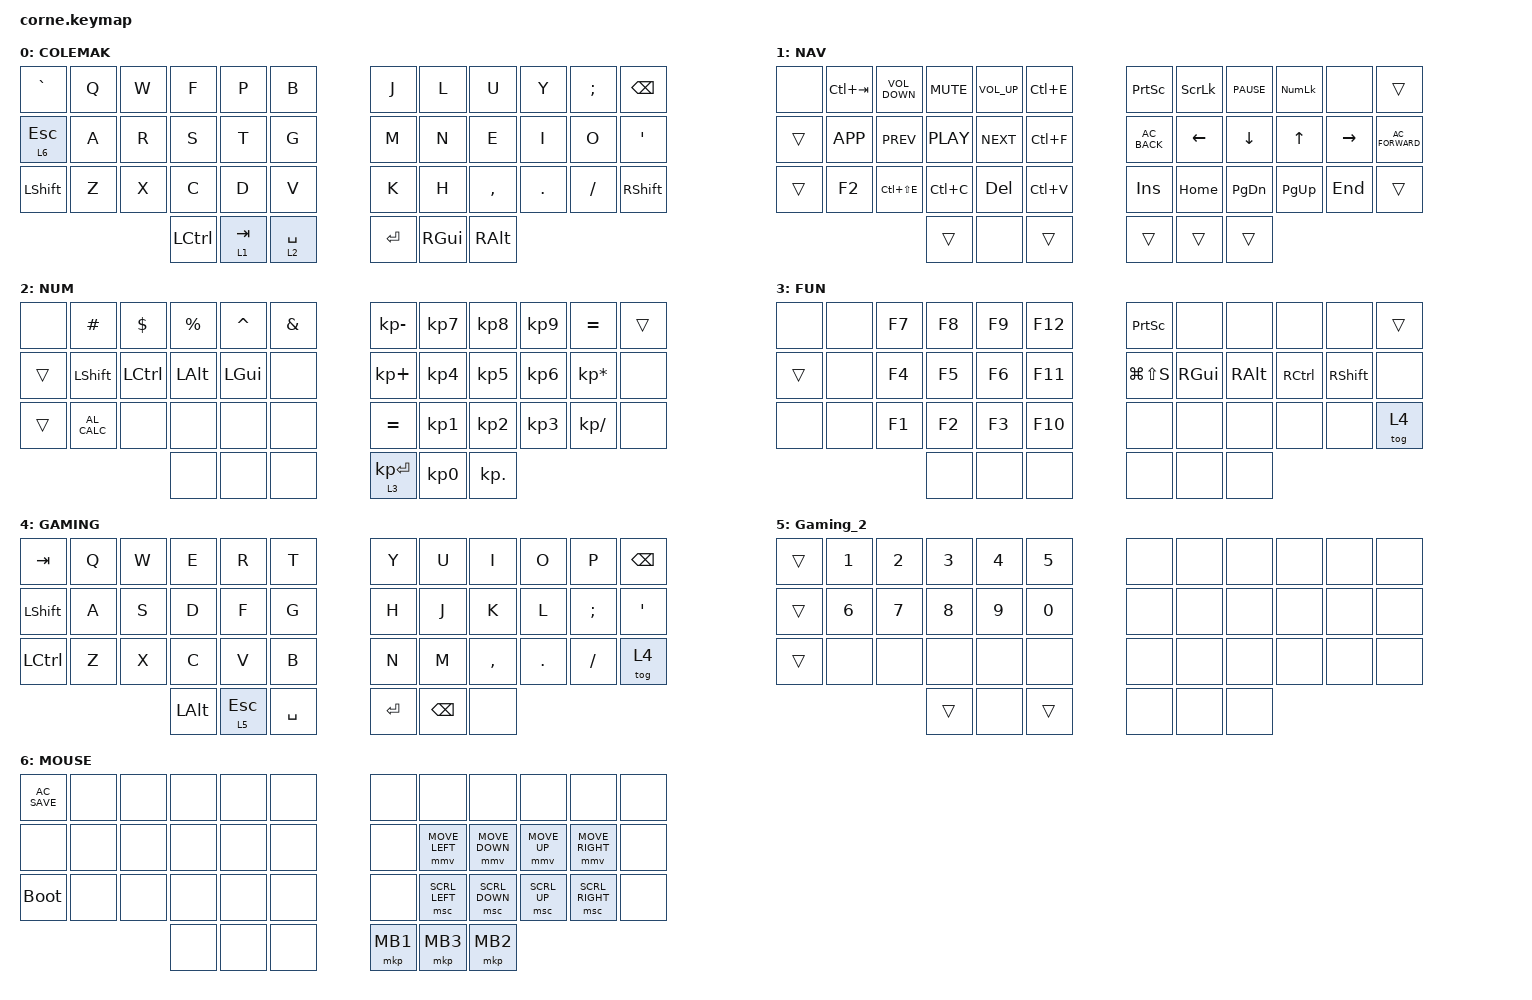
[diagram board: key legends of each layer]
/*
 * Copyright (c) 2020 The ZMK Contributors
 *
 * SPDX-License-Identifier: MIT
 */

#include <behaviors.dtsi>
#include <dt-bindings/zmk/keys.h>
#include <dt-bindings/zmk/pointing.h>

/ {
    combos {
        compatible = "zmk,combos";

        combo_lt {
            bindings = <&kp LT>;
            key-positions = <2 3>;
            timeout-ms = <50>;
            layers = <0>;
        };

        combo_lbkt {
            bindings = <&kp LBKT>;
            key-positions = <3 4>;
            timeout-ms = <50>;
            layers = <0>;
        };

        combo_under {
            bindings = <&kp UNDER>;
            key-positions = <4 5>;
            timeout-ms = <50>;
            layers = <0>;
        };

        combo_tilde {
            bindings = <&kp TILDE>;
            key-positions = <13 14>;
            timeout-ms = <50>;
            layers = <0>;
        };

        combo_grade {
            bindings = <&kp GRAVE>;
            key-positions = <14 15>;
            timeout-ms = <50>;
            layers = <0>;
        };

        combo_lpar {
            bindings = <&kp LPAR>;
            key-positions = <15 16>;
            timeout-ms = <50>;
            layers = <0>;
        };

        combo_hash {
            bindings = <&kp HASH>;
            key-positions = <16 17>;
            timeout-ms = <50>;
            layers = <0>;
        };

        combo_pbrc {
            bindings = <&kp LBRC>;
            key-positions = <27 28>;
            timeout-ms = <50>;
            layers = <0>;
        };

        combo_prcnt {
            bindings = <&kp PRCNT>;
            key-positions = <28 29>;
            timeout-ms = <50>;
            layers = <0>;
        };

        combo_excl {
            bindings = <&kp EXCL>;
            key-positions = <6 7>;
            timeout-ms = <50>;
            layers = <0>;
        };

        combo_rbkt {
            bindings = <&kp RBKT>;
            key-positions = <7 8>;
            timeout-ms = <50>;
            layers = <0>;
        };

        combo_gt {
            bindings = <&kp GT>;
            key-positions = <8 9>;
            timeout-ms = <50>;
            layers = <0>;
        };

        combo_at {
            bindings = <&kp AT>;
            key-positions = <18 19>;
            timeout-ms = <50>;
            layers = <0>;
        };

        combo_rpar {
            bindings = <&kp RPAR>;
            key-positions = <19 20>;
            timeout-ms = <50>;
            layers = <0>;
        };

        combo_bslh {
            bindings = <&kp BSLH>;
            key-positions = <20 21>;
            timeout-ms = <50>;
            layers = <0>;
        };

        combo_pipe {
            bindings = <&kp PIPE>;
            key-positions = <21 22>;
            timeout-ms = <50>;
            layers = <0>;
        };

        combo_caret {
            bindings = <&kp CARET>;
            key-positions = <30 31>;
            timeout-ms = <50>;
            layers = <0>;
        };

        combo_rbrc {
            bindings = <&kp RBRC>;
            key-positions = <31 32>;
            timeout-ms = <50>;
            layers = <0>;
        };

        caps_word {
            bindings = <&c_caps_word>;
            key-positions = <16 19>;
            layers = <0>;
            timeout-ms = <50>;
        };
    };

    behaviors {
        lt_esc: lt_esc {
            compatible = "zmk,behavior-hold-tap";
            label = "LT_ESC";
            bindings = <&mo>, <&kp>;

            #binding-cells = <2>;
            tapping-term-ms = <200>;
            flavor = "tap-preferred";
        };

        lt_spc: lt_spc {
            compatible = "zmk,behavior-hold-tap";
            label = "LT_SPC";
            bindings = <&mo>, <&kp>;

            #binding-cells = <2>;
            tapping-term-ms = <200>;
            quick-tap-ms = <200>;
            flavor = "balanced";
            retro-tap;
        };

        lt_tab: lt_tab {
            compatible = "zmk,behavior-hold-tap";
            label = "LT_TAB";
            bindings = <&mo>, <&kp>;

            #binding-cells = <2>;
            tapping-term-ms = <175>;
            quick-tap-ms = <200>;
            flavor = "balanced";
        };

        lt_ent: lt_ent {
            compatible = "zmk,behavior-hold-tap";
            label = "LT_ENT";
            bindings = <&mo>, <&kp>;

            #binding-cells = <2>;
            tapping-term-ms = <200>;
            quick-tap-ms = <200>;
            flavor = "balanced";
        };

        bspc_del: bspc_del {
            compatible = "zmk,behavior-mod-morph";
            label = "BSPC_DEL";
            bindings = <&kp BSPC>, <&kp DEL>;

            #binding-cells = <0>;
            mods = <(MOD_LSFT|MOD_RSFT)>;
        };

        c_caps_word: c_caps_word {
            compatible = "zmk,behavior-caps-word";
            label = "C_CAPS_WORD";
            #binding-cells = <0>;
            continue-list = <MINUS BSPC UNDER>;
        };
    };

    keymap {
        compatible = "zmk,keymap";

        COLEMAK {
            bindings = <
&kp GRAVE      &kp Q  &kp W  &kp F      &kp P          &kp B              &kp J      &kp L     &kp U      &kp Y    &kp SEMI  &kp BACKSPACE
&lt_esc 6 ESC  &kp A  &kp R  &kp S      &kp T          &kp G              &kp M      &kp N     &kp E      &kp I    &kp O     &kp APOS
&kp LSHFT      &kp Z  &kp X  &kp C      &kp D          &kp V              &kp K      &kp H     &kp COMMA  &kp DOT  &kp FSLH  &kp RSHFT
                             &kp LCTRL  &lt_tab 1 TAB  &lt_spc 2 SPACE    &kp ENTER  &kp RGUI  &kp RALT
            >;

            label = "COLEMAK";
        };

        NAV {
            bindings = <
&none   &kp LC(TAB)  &kp C_VOLUME_DOWN  &kp C_MUTE  &kp C_VOLUME_UP  &kp LC(E)    &kp PRINTSCREEN  &kp SCROLLLOCK  &kp C_PAUSE  &kp KP_NUM  &none      &trans
&trans  &kp K_APP    &kp C_PREV         &kp C_PLAY  &kp C_NEXT       &kp LC(F)    &kp C_AC_BACK    &kp LEFT        &kp DOWN     &kp UP      &kp RIGHT  &kp C_AC_FORWARD
&trans  &kp F2       &kp LC(LS(E))      &kp LC(C)   &kp DEL          &kp LC(V)    &kp INS          &kp HOME        &kp PG_DN    &kp PG_UP   &kp END    &trans
                                        &trans      &none            &trans       &trans           &trans          &trans
            >;

            label = "NAV";
        };

        NUM {
            bindings = <
&none   &kp HASH       &kp DLLR   &kp PRCNT  &kp CARET  &kp AMPS    &kp KP_MINUS        &kp KP_NUMBER_7  &kp KP_NUMBER_8  &kp KP_NUMBER_9  &kp EQUAL        &trans
&trans  &kp LSHFT      &kp LCTRL  &kp LALT   &kp LGUI   &none       &kp KP_PLUS         &kp KP_NUMBER_4  &kp KP_NUMBER_5  &kp KP_NUMBER_6  &kp KP_MULTIPLY  &none
&trans  &kp C_AL_CALC  &none      &none      &none      &none       &kp EQUAL           &kp KP_NUMBER_1  &kp KP_NUMBER_2  &kp KP_NUMBER_3  &kp KP_DIVIDE    &none
                                  &none      &none      &none       &lt_ent 3 KP_ENTER  &kp KP_NUMBER_0  &kp KP_DOT
            >;

            label = "NUM";
        };

        FUN {
            bindings = <
&none   &none  &kp F7  &kp F8  &kp F9  &kp F12    &kp PRINTSCREEN  &none     &none     &none      &none      &trans
&trans  &none  &kp F4  &kp F5  &kp F6  &kp F11    &kp LG(LS(S))    &kp RGUI  &kp RALT  &kp RCTRL  &kp RSHFT  &none
&none   &none  &kp F1  &kp F2  &kp F3  &kp F10    &none            &none     &none     &none      &none      &tog 4
                       &none   &none   &none      &none            &none     &none
            >;

            label = "FUN";
        };

        GAMING {
            bindings = <
&kp TAB    &kp Q  &kp W  &kp E     &kp R      &kp T        &kp Y    &kp U     &kp I      &kp O    &kp P     &kp BSPC
&kp LSHFT  &kp A  &kp S  &kp D     &kp F      &kp G        &kp H    &kp J     &kp K      &kp L    &kp SEMI  &kp APOS
&kp LCTRL  &kp Z  &kp X  &kp C     &kp V      &kp B        &kp N    &kp M     &kp COMMA  &kp DOT  &kp FSLH  &tog 4
                         &kp LALT  &lt 5 ESC  &kp SPACE    &kp RET  &kp BSPC  &none
            >;

            label = "GAMING";
        };

        Gaming_2 {
            bindings = <
&trans  &kp N1  &kp N2  &kp N3  &kp N4  &kp N5    &none  &none  &none  &none  &none  &none
&trans  &kp N6  &kp N7  &kp N8  &kp N9  &kp N0    &none  &none  &none  &none  &none  &none
&trans  &none   &none   &none   &none   &none     &none  &none  &none  &none  &none  &none
                        &trans  &none   &trans    &none  &none  &none
            >;

            label = "Gaming_2";
        };

        MOUSE {
            bindings = <
&kp C_AC_SAVE  &none  &none  &none  &none  &none    &none     &none           &none           &none         &none            &none
&none          &none  &none  &none  &none  &none    &none     &mmv MOVE_LEFT  &mmv MOVE_DOWN  &mmv MOVE_UP  &mmv MOVE_RIGHT  &none
&bootloader    &none  &none  &none  &none  &none    &none     &msc SCRL_LEFT  &msc SCRL_DOWN  &msc SCRL_UP  &msc SCRL_RIGHT  &none
                             &none  &none  &none    &mkp MB1  &mkp MB3        &mkp MB2
            >;

            label = "MOUSE";
        };
    };

    conditional_layers { compatible = "zmk,conditional-layers"; };
};
